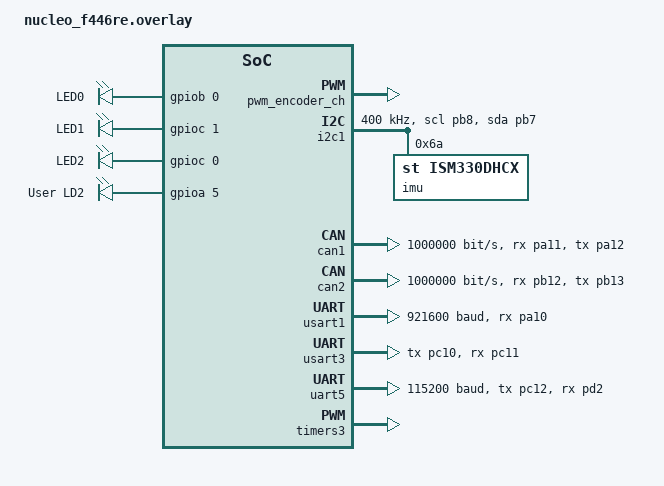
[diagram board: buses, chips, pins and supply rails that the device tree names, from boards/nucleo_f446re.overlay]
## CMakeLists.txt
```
cmake_minimum_required(VERSION 3.20.0)

set(CONF_FILE
    "${CMAKE_CURRENT_SOURCE_DIR}/../robots.conf"
    "${CMAKE_CURRENT_SOURCE_DIR}/prj.conf"
)

find_package(Zephyr REQUIRED HINTS $ENV{ZEPHYR_BASE})
project(Sentry)

add_subdirectory(${CMAKE_CURRENT_SOURCE_DIR}/../../core core_build)

target_sources(app PRIVATE src/sentry.cpp)
target_include_directories(app PRIVATE ${CMAKE_CURRENT_SOURCE_DIR}/../../core)

# Otherwise has trouble getting core since it's up a level on the directory
target_link_libraries(app PRIVATE core)
```

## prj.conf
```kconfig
# This is intentionally left empty for now since there's nothing specific to hero
# That we need to set. Everything should be done by robots.conf
```

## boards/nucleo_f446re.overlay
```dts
// Something to consider is what the diff is between using either of these clocks

// &clk_hsi {
//     status = "okay";
// };

// &clk_hse {
//     status = "disabled";
// };

// &pll {
//     clocks = <&clk_hsi>;
//     div-m = <16>;
//     mul-n = <384>;
//     div-p = <4>;
//     status = "okay";
// };

&clk_hse { status = "okay"; };
&clk_hsi { status = "disabled"; };
&pll { clocks = <&clk_hse>; };

&dma1 {
    status = "disabled";
};

&dma2 {
    status = "okay";
};

&i2c1 {
    pinctrl-0 = <&i2c1_scl_pb8 &i2c1_sda_pb7>;
    pinctrl-names = "default";
    status = "okay";
    clock-frequency = <400000>;

    imu: ism330@6a {
        compatible = "st,ism330dhcx";
        reg = <0x6a>;
    };
};

&can1 {
    pinctrl-0 = <&can1_rx_pa11 &can1_tx_pa12>;
    pinctrl-names = "default";
    status = "okay";
    bitrate = <1000000>;
};

&can2 {
    pinctrl-0 = <&can2_rx_pb12 &can2_tx_pb13>;
    pinctrl-names = "default";
    status = "okay";
    bitrate = <1000000>;
};

&usart1 { //Controller
    pinctrl-0 = <&usart1_rx_pa10>; // tx isn't connected because this is the controller
    pinctrl-names = "default";
    status = "okay";
    current-speed = <921600>;

    dmas = <&dma2 2 4 STM32_DMA_PERIPH_RX STM32_DMA_FIFO_FULL>;
        dma-names = "rx";
};

&usart3 { //Ref
    pinctrl-0 = <&usart3_tx_pc10 &usart3_rx_pc11>;
    pinctrl-names = "default";
    status = "okay";
};

&uart5 {
    pinctrl-0 = <&uart5_tx_pc12 &uart5_rx_pd2>;
    pinctrl-names = "default";
    status = "okay";
    current-speed = <115200>;
};

&timers3 { // Encoder | PWM is done thru timer node, PB_4 is timer3 channel 1
    status = "okay";
    st,prescaler = <3>;

    pwm3: pwm {
        compatible = "st,stm32-pwm";
        status = "okay";
        pinctrl-0 = <&tim3_ch1_pb4>;
        pinctrl-names = "default";
        #pwm-cells = <3>;
    };
};

/ {
    pwm_encoder_ch: zephyr,user { //Node has to be named "zephyr,user" so it compiles
        pwms = <&pwm3 1 PWM_MSEC(20) PWM_POLARITY_NORMAL>;
        status = "okay";
    };
};

&i2c3 {
    status = "disabled";
};


/* The sigular slash below indicates that we're just making a new node
Unlike the ones above, which were already declared for us in the
root dts file Zephyr has for us, this LED node is specific to us */
/ {
    leds {
        compatible = "gpio-leds";
        led0: led_0 {
            gpios = <&gpiob 0 GPIO_ACTIVE_HIGH>;
            label = "LED0";
        };
        led1: led_1 {
            gpios = <&gpioc 1 GPIO_ACTIVE_HIGH>;
            label = "LED1";
        };
        led2: led_2 {
            gpios = <&gpioc 0 GPIO_ACTIVE_HIGH>;
            label = "LED2";
        };

        LD2: LD_2 {
            gpios = <&gpioa 5 GPIO_ACTIVE_HIGH>;
            label = "User LD2";
        };
    };

    aliases {
        //Left hand side lives in a diff namespace than right hand side
        //So this doesn't break everything I swear
        led0 = &led0;
        led1 = &led1;
        led2 = &led2;
    };
};

  &gpiob {
       status = "okay";
   };

   &gpioc {
       status = "okay";
   };
```

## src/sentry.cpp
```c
#include <zephyr/drivers/i2c.h>
#include <zephyr/drivers/pwm.h>
#include <zephyr/kernel.h>
#include <zephyr/drivers/gpio.h>
#include <zephyr/device.h>
#include <zephyr/devicetree.h>
#include <stdio.h>
#include <algorithm>
#include <cmath>
#include <util/communications/DJIRemote2.h>
#include <util/communications/CANHandler.h>
#include <util/communications/jetson/Jetson.h>
#include <util/peripherals/imu/ISM330.h>
#include <util/algorithms/PID.h>
#include <base_robot/BaseRobot.h>
#include <zephyr/dt-bindings/pwm/pwm.h>


// Robot Constants
constexpr float PITCH_LOWER_BOUND{-22.0};
constexpr float PITCH_UPPER_BOUND{25.0};

// Remote (infantry-style) control sensitivities
constexpr float JOYSTICK_YAW_SENSITIVITY_DPS = 300;
constexpr float JOYSTICK_PITCH_SENSITIVITY_DPS = 150;

// Jetson (autonomy) limits
constexpr uint64_t JETSON_COMMAND_TIMEOUT_US = 500000;
constexpr float JETSON_MAX_ANGULAR_VEL = 8.0f;

constexpr PID::config YAW_VEL_PID     = {181,0,10, 32000, 1000};
constexpr PID::config YAW_POS_PID     = {1, 0, 0, 45, 2};
const float yaw_static_friction       = 0;       // We multiply it by dir
const float yaw_kinetic_friction      = 0;       // We multiply this by yawvelo

constexpr PID::config PITCH_VEL_PID   = {173.8994f, 4.898f * static_cast<float>(10e-6), 12.474f * static_cast<float>(10e3) * 1.5f, 16000, 2000}; //{25, 0.001, 5, 16000, 1000};
constexpr PID::config PITCH_POS_PID   = {1, 0, 0,30,2}; //{1, 0, 0, 30, 2};
const float pitch_gravity_feedforward = -1200;    // We multiply this by cos(angle)
const float pitch_static_friction     = 0;       // We multiply it by dir
const float pitch_kinetic_friction    = 0; //5.5;     // We multiply this by pitchvelo

constexpr PID::config FL_VEL_CONFIG = {3, 0, 0};
constexpr PID::config FR_VEL_CONFIG = {3, 0, 0};
constexpr PID::config BL_VEL_CONFIG = {3, 0, 0};
constexpr PID::config BR_VEL_CONFIG = {3, 0, 0};

constexpr PID::config FLYWHEEL_L_PID = {7.1849, 0.000042634, 0};
constexpr PID::config FLYWHEEL_R_PID = {7.1849, 0.000042634, 0};
constexpr PID::config INDEXER_PID_VEL = {2.7, 0.001, 0};
constexpr PID::config INDEXER_PID_POS = {0.1, 0, 0.001};


// Devices from DT

const struct device *canbus1_dev = DEVICE_DT_GET(DT_NODELABEL(can1));

const struct device *canbus2_dev = DEVICE_DT_GET(DT_NODELABEL(can2));
constexpr short yaw_id = 3;
constexpr short pitch_id = 5;

const struct gpio_dt_spec led0_dev = GPIO_DT_SPEC_GET(DT_ALIAS(led0), gpios);
const struct gpio_dt_spec led1_dev = GPIO_DT_SPEC_GET(DT_ALIAS(led1), gpios);
const struct gpio_dt_spec led2_dev = GPIO_DT_SPEC_GET(DT_ALIAS(led2), gpios);


static const struct i2c_dt_spec imu_spec = I2C_DT_SPEC_GET(DT_NODELABEL(imu));

static const struct pwm_dt_spec encoderSpec = PWM_DT_SPEC_GET(DT_NODELABEL(pwm_encoder_ch));
static const struct device *controllerUart = DEVICE_DT_GET(DT_NODELABEL(usart1));
static const struct device *refUartDev = DEVICE_DT_GET(DT_NODELABEL(usart3));

static const struct device *jetsonUart = DEVICE_DT_GET(DT_NODELABEL(uart5));

// Subsystem Configs
TurretSubsystem::config turret_config = {
    canbus1_dev,
    CANHandler::CANBUS_1,
    yaw_id,
    M3508,
    canbus2_dev,
    CANHandler::CANBUS_2, // TODO: Ideally we could grab canbus thru the device
    pitch_id,
    M3508,
    YAW_VEL_PID,
    YAW_POS_PID,
    PITCH_VEL_PID,
    PITCH_POS_PID,
    yaw_static_friction,
    yaw_kinetic_friction,
    pitch_gravity_feedforward,
    pitch_static_friction,
    pitch_kinetic_friction,
    1,
    1.0/3.0,
    PITCH_LOWER_BOUND,
    PITCH_UPPER_BOUND
};
ShooterSubsystem::config shooter_config = {
    canbus2_dev,
    CANHandler::CANBUS_2,
    ShooterSubsystem::BURST,
    0,
    2,
    4,
    6,
    FLYWHEEL_L_PID,
    FLYWHEEL_R_PID,
    INDEXER_PID_VEL,
    INDEXER_PID_POS,
    false
};

// State variables (remote control path)
ChassisSpeeds des_chassis_state;
TurretSubsystem::TurretInfo des_turret_state;
ShootState des_shoot_state;

float pitch_desired_angle = 0.0;
float yaw_desired_angle = 0.0;

// A stream must have received a valid packet before it can enable actuators.
static bool command_is_fresh(uint64_t stamp_us, uint64_t current_us) {
    return stamp_us != 0 && current_us >= stamp_us &&
           current_us - stamp_us < JETSON_COMMAND_TIMEOUT_US;
}

class Sentry : public BaseRobot {
  public:
    ISM330 imu_;
    MA4 encoder_;
    Jetson jetson;
    Jetson::WriteState stm_state{};
    Jetson::ReadState jetson_state{};
    TurretSubsystem turret_;
    ShooterSubsystem shooter_;
    ChassisSubsystem chassis_;

    IMU::EulerAngles imuAngles;

    // Enum to more easily control robotstates, at comp we can easily just set neutral to jetson and profit 
    enum class ControlMode {
        REMOTE, // Mode N: yaw-oriented, remote/keyboard control
        JETSON, // Mode S: Jetson commands chassis / turret / shooter
        NEUTRAL    // Anything else: everything off
    };
    ControlMode control_mode_{ControlMode::NEUTRAL};

    Sentry(Config &config)
        : BaseRobot(config),
          imu_(imu_spec),
          encoder_(&encoderSpec),
          jetson(jetsonUart),
          turret_(turret_config, imu_),
          shooter_(shooter_config),
          chassis_(ChassisSubsystem::Config{
              5,        // left_front_can_id (Infantry hardware)
              1,        // right_front_can_id
              2,        // left_back_can_id
              4,        // right_back_can_id
              0.22617,  // radius
              0.065,    // speed_pid_ff_ks
              92.0f+120+10+10,       // yaw_initial_offset_ticks
              imu_,
              &encoder_
          }) {}

    void init() override {
        if (!device_is_ready(controllerUart)) {
            printf("[ERROR] controllerUart (usart1) not ready!\n");
        }
        if (!device_is_ready(jetsonUart)) {
            printf("[ERROR] jetsonUart (uart5) not ready!\n");
        }
        imu_.begin(0.9, 0);
    }

    // Same override scheme as infantry: 'u' forces the first mode, 'd' forces
    // the second, 'o' defers to the remote's mode switch.
    //   N  (or drive 'u') -> REMOTE
    //   S  (or drive 'd') -> JETSON
    //   otherwise         -> NEUTRAL
    ControlMode select_mode() {
        if (drive == 'u' || (drive == 'o' && remote_.getMode() == DJIRemote2::ModeSwitch::MODE_N)) {
            return ControlMode::REMOTE;
        }
        if (drive == 'd' || (drive == 'o' && remote_.getMode() == DJIRemote2::ModeSwitch::MODE_S)) {
            return ControlMode::JETSON;
        }
        return ControlMode::NEUTRAL;
    }

    void periodic(unsigned long dt_us) override {
        imu_.mahonyUpdateIMU(dt_us / 1000000.0f);
        imuAngles = imu_.getImuAngles();

        // Always read the Jetson so its state stays current regardless of mode
        jetson_state = jetson.read();

        // Set the power budget before calculating chassis motor outputs.
        float power_limit = referee_.robot_status.chassis_power_limit;
        if (power_limit <= 0) {
            power_limit = 80;
        }
        chassis_.power_limit = power_limit;

        control_mode_ = select_mode();
        switch (control_mode_) {
            case ControlMode::REMOTE:   run_remote_mode(dt_us); break;
            case ControlMode::JETSON:   run_jetson_mode();      break;
            case ControlMode::NEUTRAL:  run_neutral_mode();        break;
        }

        turret_.periodic(chassis_.getChassisSpeeds().vOmega * 60.0f / (2.0f * PI));
        chassis_.periodic(&imuAngles);
        shooter_.periodic(referee_.power_heat_data.shooter_17mm_barrel_heat,
                          referee_.robot_status.shooter_barrel_heat_limit);

        set_jetson_state();
        jetson.write(stm_state);
    }
    
    unsigned int main_loop_dt_ms() override { return 2; } // 500 Hz loop
    
    // ---------------------------------------------------------------
    // Neutral Mode
    // ---------------------------------------------------------------
    void run_neutral_mode() {
        chassis_.setWheelPower({0, 0, 0, 0});

        des_turret_state.turret_mode = TurretState::SLEEP;
        des_turret_state.yaw_angle_degs = turret_.getState().yaw_angle_degs;
        des_turret_state.pitch_angle_degs = 0;
        yaw_desired_angle = turret_.getState().yaw_angle_degs;
        pitch_desired_angle = 0;

        turret_.setState(des_turret_state);
        shooter_.setState(ShootState::OFF);

        referee_.is_aligned = false;
        referee_.is_cv_on = false;
        referee_.is_spinning = false;
        referee_.is_flywheel_on = false;
    }
    // ---------------------------------------------------------------
    // Mode N: Infantry-mode basically, the remote does everything
    // ---------------------------------------------------------------
    void run_remote_mode(unsigned long dt_us) {
        const float dt_s = dt_us / 1000000.0f;

        // Chassis: yaw-oriented translation, no spin
        max_linear_vel = MAX_VEL;
        des_chassis_state.vX = jy * max_linear_vel;
        des_chassis_state.vY = jx * max_linear_vel;
        des_chassis_state.vOmega = 0;
        chassis_.setChassisSpeeds(des_chassis_state, ChassisSubsystem::DRIVE_MODE::YAW_ORIENTED);

        // Turret from remote (joystick + mouse)
        yaw_desired_angle -= myaw * 0.01f;
        yaw_desired_angle -= jyaw * JOYSTICK_YAW_SENSITIVITY_DPS * dt_s;
        yaw_desired_angle = capAngle(yaw_desired_angle);
        des_turret_state.yaw_angle_degs = yaw_desired_angle;

        pitch_desired_angle -= mpitch * 0.01f;
        pitch_desired_angle -= jpitch * JOYSTICK_PITCH_SENSITIVITY_DPS * dt_s;
        pitch_desired_angle = std::clamp(pitch_desired_angle, PITCH_LOWER_BOUND, PITCH_UPPER_BOUND);
        des_turret_state.pitch_angle_degs = pitch_desired_angle;
        des_turret_state.turret_mode = TurretState::AIM;

        // Shooter from remote
        if ((remote_.PAUSEToggled() == true && remote_.TriggerPressed() == true) || remote_.getMouseL()) {
            des_shoot_state = ShootState::SHOOT;
        } else if (remote_.CUSTRPressed() == true && remote_.PAUSEToggled() == true) {
            des_shoot_state = ShootState::JAM;
        } else if (remote_.PAUSEToggled() == true || shot == 'd') {
            des_shoot_state = ShootState::FLYWHEEL;
        } else {
            des_shoot_state = ShootState::OFF;
        }

        turret_.setState(des_turret_state);
        shooter_.setState(des_shoot_state);

        referee_.is_aligned = false;
        referee_.is_cv_on = false;
        referee_.is_spinning = false;
        referee_.is_flywheel_on = des_shoot_state != ShootState::OFF;
    }

    // ---------------------------------------------------------------
    // Mode S: Jetson mode 
    // ---------------------------------------------------------------
    void run_jetson_mode() {
        const uint64_t current_us = now_us();
        const bool chassis_enabled = command_is_fresh(jetson_state.chassis_stamp_us, current_us);
        const bool turret_enabled = command_is_fresh(jetson_state.turret_stamp_us, current_us);

        ChassisSpeeds chassis_command{};
        if (chassis_enabled) {
            // Preserve Sentry's Jetson axis signs; velocities are chassis-relative.
            chassis_command.vX = std::clamp(jetson_state.desired_x_vel, -MAX_VEL, MAX_VEL);
            chassis_command.vY = -std::clamp(-jetson_state.desired_y_vel, -MAX_VEL, MAX_VEL); // THIS IS NEGATIVE SO THAT AUTO'S CONVENTION WORKS
            chassis_command.vOmega = std::clamp(jetson_state.desired_angular_vel,
                                               -JETSON_MAX_ANGULAR_VEL, JETSON_MAX_ANGULAR_VEL);
        }
        chassis_.setChassisSpeeds(chassis_command, ChassisSubsystem::DRIVE_MODE::YAW_ORIENTED);
        if (!chassis_enabled) {
            // Clear any PID output while waiting for the first packet or after timeout.
            chassis_.setWheelPower({0, 0, 0, 0});
        }

        TurretSubsystem::TurretInfo turret_command{};
        ShootState shoot_command = ShootState::OFF;
        if (turret_enabled) {
            turret_command.turret_mode = TurretState::AIM;
            turret_command.yaw_angle_degs = radiansToDegrees(
                std::remainder(jetson_state.desired_yaw_rads, 2.0f * PI));
            turret_command.pitch_angle_degs = radiansToDegrees(std::clamp(
                -jetson_state.desired_pitch_rads,
                degreesToRadians(PITCH_LOWER_BOUND), degreesToRadians(PITCH_UPPER_BOUND)));
            // The existing protocol has a single shoot flag, not separate flywheel/jam commands.
            if (jetson_state.shoot_status != 0) {
                shoot_command = ShootState::SHOOT;
            }
        } else {
            turret_command.turret_mode = TurretState::SLEEP;
        }
        turret_.setState(turret_command);
        shooter_.setState(shoot_command);

        // Keep the remote-mode setpoints tracking the real turret so switching
        // S -> N doesn't make the turret snap to a stale target.
        yaw_desired_angle = turret_.getState().yaw_angle_degs;
        pitch_desired_angle = std::clamp(turret_.getState().pitch_angle_degs,
                                         PITCH_LOWER_BOUND, PITCH_UPPER_BOUND);

        referee_.is_aligned = false;
        referee_.is_cv_on = turret_enabled;
        referee_.is_spinning = chassis_enabled && chassis_command.vOmega != 0.0f;
        referee_.is_flywheel_on = shoot_command != ShootState::OFF;
    }


    void set_jetson_state() {
        // Only request autonomy while the remote has handed control to the Jetson.
        stm_state.activate_CV = (control_mode_ == ControlMode::JETSON) ? 1 : 0;
        stm_state.calibration = 0;
        stm_state.game_state = referee_.get_game_progress();
        stm_state.robot_hp = referee_.get_remain_hp();
        stm_state.team_color = referee_.is_red_or_blue();

        stm_state.chassis_x_velocity = chassis_.getChassisSpeeds().vX;
        stm_state.chassis_y_velocity = chassis_.getChassisSpeeds().vY;
        stm_state.chassis_rotation = chassis_.getChassisSpeeds().vOmega;

        stm_state.yaw_angle_rads = degreesToRadians(turret_.getState().yaw_angle_degs);
        stm_state.yaw_velocity = turret_.getState().yaw_velo_rad_s; // already rad/s
        stm_state.pitch_angle_rads = degreesToRadians(turret_.getState().pitch_angle_degs);
        stm_state.pitch_velocity = turret_.getState().pitch_velo_rad_s; // already rad/s
    }
};

int main(void) {
    BaseRobot::Config config{};
    config.led0_dev = &led0_dev;
    config.led1_dev = &led1_dev;
    config.led2_dev = &led2_dev;
    config.controller_uart_dev = controllerUart;
    config.referee_uart_dev = refUartDev;
    config.referee_usart_type = USART3;
    config.can1_dev = canbus1_dev;
    config.can2_dev = canbus2_dev;
    static Sentry sentry(config);
    sentry.main_loop();
}
```
